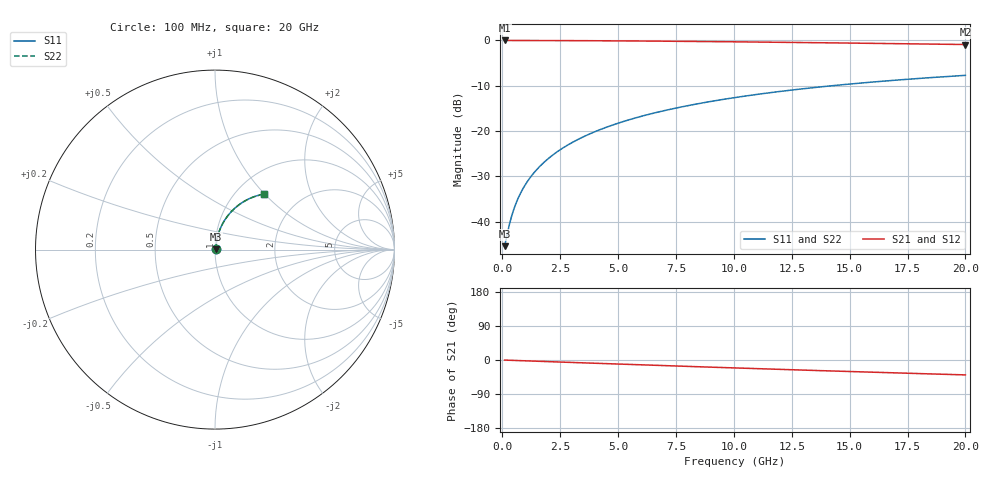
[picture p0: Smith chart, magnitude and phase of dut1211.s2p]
! Touchstone file exported from HFSS 2026.1.0
!  File:  C:/ffzhzh/LocalFiles/Ansys_Project_Files/temp_train_BSMRDL_1211_1783176654_55132.aedt
!  Generated:  10:52:04 PM Jul  4, 2026
!  Design:  BSMRDL
!  Project:  temp_train_BSMRDL_1211_1783176654_55132
! Variables:
!  h_bsmrdl = 3.57um
!  h_ox = 20um
!  h_rdl = 5um
!  h_sub = 80um
!  h_tmrdl = 5um
!  h_tsv = 80um
!  h_via = 3um
!  l_bsmrdl = 548.61um
!  l_sub = 948.61um
!  l_tmrdl = 200um
!  m_sub = 200um
!  pitch = 36.22um
!  r_tsv = 6um
!  s_tmrdl = 10um
!  w_bsmrdl = 11.71um
!  w_sub = 500um
!  w_tmrdl = 12um
!  x_tsv_center1 = 206um
!  x_tsv_center2 = 766.32um
!  x_tsv_center3 = 978.32um
!  x_tsv_center4 = 1538.64um
!  x_tsv_center5 = 1750.64um
!  x_tsv_center6 = 2310.96um
# GHz S MA R 50.000000
! Terminal data exported
! Port[1] = BSM_RDL1_1_T1
! Port[2] = BSM_RDL1_1_T2
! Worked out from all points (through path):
!   200 points, 100 MHz to 20 GHz, reference 50 ohm
!   highest |S21| = -0.04 dB at 100 MHz (marker M1); lowest = -0.9 dB at 20 GHz (marker M2)
!   group delay of S21, straight-line fit = 5.47 ps
!   lowest |S11| = -45.4 dB at 100 MHz (marker M3), VSWR 1.01, Z = 50.5 + j0.263 ohm
!   |S11| at or under -10 dB: start of sweep to 14.28 GHz
!   |S22| runs from -45.4 to -7.7 dB; largest |S21 - S12| = 4.5e-15
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0.1  0.005379 28.9  0.9953 -0.2  0.9953 -0.2  0.005379 28.9
! Gamma 0 0 0 0
! Port Impedance 50 0 50 0
0.3  0.009177 57.4  0.9951 -0.7  0.9951 -0.7  0.009177 57.4
0.4  0.01145 63.5  0.995 -0.9  0.995 -0.9  0.01145 63.5
0.5  0.01379 67.4  0.9949 -1.1  0.9949 -1.1  0.01379 67.4
0.6  0.01616 70.2  0.9947 -1.3  0.9947 -1.3  0.01616 70.2
0.7  0.01854 72.1  0.9946 -1.5  0.9946 -1.5  0.01854 72.1
0.9  0.02334 74.8  0.9944 -2.0  0.9944 -2.0  0.02334 74.8
1.2  0.03058 77.0  0.9941 -2.6  0.9941 -2.6  0.03058 77.0
1.4  0.03542 77.9  0.9938 -3.0  0.9938 -3.0  0.03543 77.9
1.7  0.04271 78.6  0.9934 -3.7  0.9934 -3.7  0.04271 78.6
2.2  0.05487 79.1  0.9926 -4.8  0.9926 -4.8  0.05487 79.1
2.8  0.06943 78.9  0.9914 -6.0  0.9914 -6.0  0.06943 78.9
3.5  0.08631 78.1  0.9898 -7.5  0.9898 -7.5  0.08631 78.1
4.2  0.103 77.2  0.9878 -9.0  0.9878 -9.0  0.103 77.1
5  0.1219 75.8  0.9852 -10.7  0.9852 -10.7  0.1219 75.8
5.9  0.1428 74.2  0.9818 -12.6  0.9818 -12.6  0.1428 74.2
6.8  0.1633 72.6  0.978 -14.4  0.978 -14.4  0.1633 72.6
8.3  0.1966 69.7  0.971 -17.5  0.971 -17.5  0.1966 69.7
10.1  0.2348 66.3  0.9614 -21.1  0.9614 -21.1  0.2348 66.3
13.4  0.2999 60.2  0.9417 -27.4  0.9417 -27.4  0.2999 60.2
16.7  0.3585 54.4  0.9202 -33.5  0.9202 -33.5  0.3586 54.3
20  0.4105 48.7  0.8978 -39.3  0.8978 -39.3  0.4105 48.7
